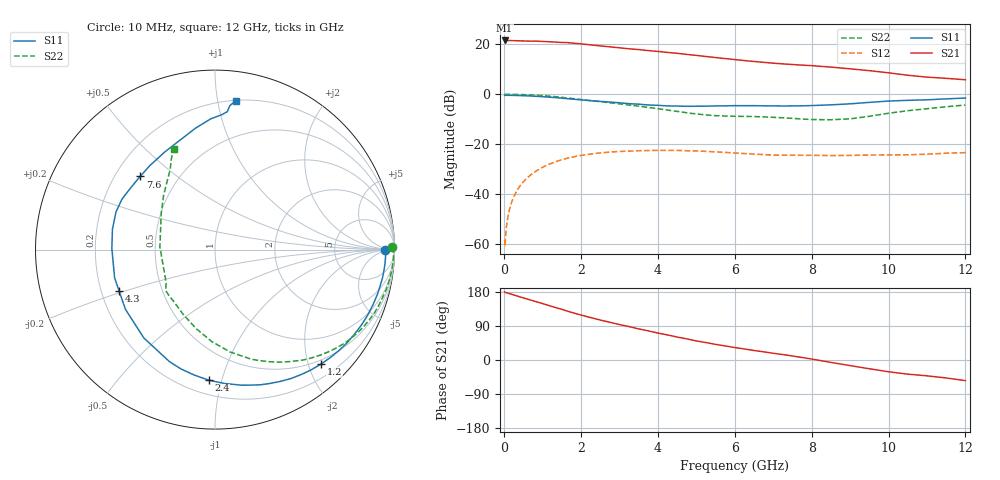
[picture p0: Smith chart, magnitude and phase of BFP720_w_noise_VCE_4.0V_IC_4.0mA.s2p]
! Infineon Technologies  Discrete & RF Semiconductors
! BFP720
! VCE =  4.0 V,  IC =  4.0 mA
! Common Emitter S-Parameters:  Aug 2012
# GHz  S  MA  R  50
!  f  S11  S21  S12  S22
! GHz  MAG  ANG  MAG  ANG  MAG  ANG  MAG  ANG
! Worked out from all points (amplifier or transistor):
!   105 points, 10 MHz to 12 GHz, reference 50 ohm
!   highest |S21| = 21.5 dB at 10 MHz (marker M1)
!   |S21| within 3 dB of that: start of sweep to 3.033 GHz
!   unconditionally stable (mu >= 1): 6.729 GHz to 11.49 GHz
!   at 300 MHz: K = 0.08, MSG = 30.5 dB, |S12| = -39.6 dB
!   at 3.6 GHz: K = 0.44, MSG = 20.2 dB, |S12| = -22.6 dB
!   at 12 GHz: K = 0.80, MSG = 14.6 dB, |S12| = -23.4 dB
!   lowest NFmin = 0.37 dB at 450 MHz
!   S11 on the Smith chart (normalised r, x): 10 MHz: 38, +0; 1.2 GHz: 0.43, -2.23; 2.4 GHz: 0.29, -0.91; 4.3 GHz: 0.27, -0.19; 7.6 GHz: 0.30, +0.38; 12 GHz: 0.20, +1.13
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0.01  0.9489 -0.0  11.94 179.7  0.0012 -28.2  0.9864 0.7
0.02  0.9522 -0.7  11.81 178.5  0.0009 56.6  0.9947 -0.5
0.06  0.9512 -2.2  11.93 177.4  0.0023 71.6  0.9945 -1.6
0.14  0.9498 -5.3  11.9 175.1  0.005 80.7  0.9944 -3.7
0.35  0.9408 -13.4  11.76 168.4  0.0124 79.6  0.9873 -9.3
0.8  0.9094 -31.0  11.59 154.8  0.0278 69.4  0.9566 -21.4
1.2  0.8694 -47.1  11.23 142.6  0.0404 59.5  0.9103 -32.1
1.6  0.8194 -63.7  10.88 130.3  0.0511 49.7  0.8488 -42.3
1.9  0.7809 -75.2  10.37 121.4  0.0575 42.6  0.7993 -49.6
2.1  0.7573 -82.4  10 116.0  0.0609 38.2  0.7664 -54.0
2.4  0.728 -92.8  9.471 108.0  0.0653 32.1  0.7214 -60.4
3  0.6735 -112.2  8.507 93.5  0.0712 21.7  0.641 -72.0
3.5  0.6322 -128.8  7.838 82.0  0.0738 13.9  0.5765 -81.6
4.1  0.5915 -149.7  7.065 69.1  0.0748 5.8  0.5001 -93.9
4.3  0.5816 -156.9  6.813 65.0  0.0747 3.2  0.4747 -98.5
5  0.5747 179.5  5.997 50.3  0.0729 -4.9  0.4017 -116.2
6.1  0.5892 157.7  4.851 31.4  0.0657 -13.0  0.3602 -136.8
7.6  0.5829 135.6  3.89 9.0  0.0597 -14.2  0.3239 -147.7
8.5  0.6115 117.3  3.491 -6.3  0.0589 -14.9  0.3073 177.4
9.5  0.6853 99.1  2.961 -23.1  0.0604 -14.9  0.3606 146.2
10.5  0.7535 87.0  2.395 -37.3  0.061 -16.0  0.4671 124.7
12  0.8376 82.1  1.946 -54.4  0.0675 -19.1  0.6075 112.1
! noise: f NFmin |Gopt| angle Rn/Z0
0.45  0.37  0.56  4  0.21
1.8  0.49  0.52  27  0.15
2.4  0.52  0.39  66  0.2
5.5  0.72  0.26  73  0.11
10  1.02  0.41  -96  0.21
